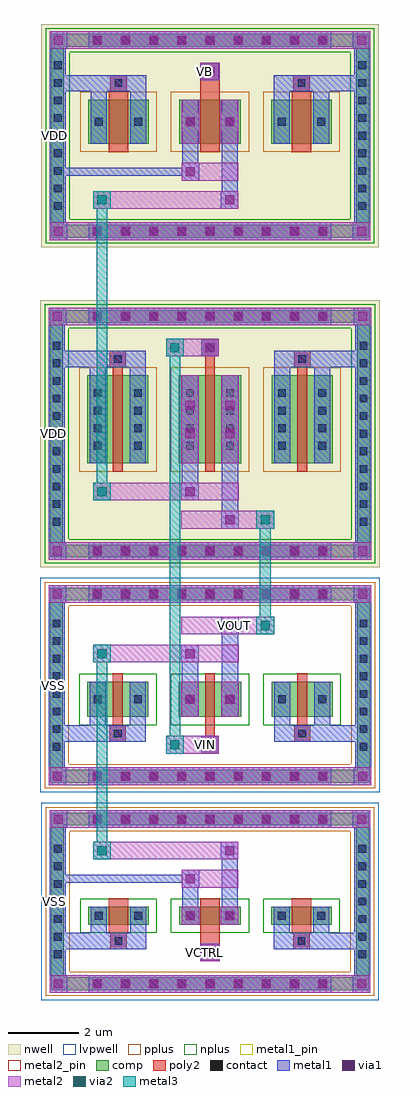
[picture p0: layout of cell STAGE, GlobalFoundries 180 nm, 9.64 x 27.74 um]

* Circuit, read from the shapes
.subckt STAGE VB VCTRL VDD VIN VOUT VSS
XM1 VSS VSS VSS VSS nfet_03v3 w=0.5u l=0.56u m=2
XM2 VSS VSS VSS VSS nfet_03v3 w=1u l=0.28u m=2
XM3 n1 VCTRL VSS VSS nfet_03v3 w=0.5u l=0.56u
XM4 VOUT VIN n1 VSS nfet_03v3 w=1u l=0.28u
XM5 VDD VDD VDD VDD pfet_03v3 w=1.25u l=0.56u m=2
XM6 VDD VDD VDD VDD pfet_03v3 w=2.5u l=0.28u m=2
XM7 n2 VB VDD VDD pfet_03v3 w=1.25u l=0.56u
XM8 VOUT VIN n2 VDD pfet_03v3 w=2.5u l=0.28u
.ends

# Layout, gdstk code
import gdstk
lib = gdstk.Library(unit=1e-6, precision=5e-09)
def R(c, l, rs):  # rectangles x0, y0, x1, y1
    for r in rs: c.add(gdstk.rectangle(r[:2], r[2:], *l))
def A(c, l, x, y, w, h, nx, ny, dx, dy):  # array of equal rectangles
    R(c, l, [(x+i*dx, y+j*dy, x+i*dx+w, y+j*dy+h) for i in range(nx) for j in range(ny)])
def P(c, l, *ps):  # polygons
    for p in ps: c.add(gdstk.Polygon(p, *l))
nwell = (21, 0)
comp = (22, 0)
poly2 = (30, 0)
pplus = (31, 0)
nplus = (32, 0)
contact = (33, 0)
metal1 = (34, 0)
metal1_pin = (34, 10)
via1 = (35, 0)
metal2 = (36, 0)
metal2_pin = (36, 10)
via2 = (38, 0)
metal3 = (42, 0)
lvpwell = (204, 0)

stage = lib.new_cell('STAGE')
R(stage, nwell, [(-4.82,9.5,4.82,17.09), (-4.66,9.66,4.66,16.93), (-4.79,18.59,4.79,24.94), (-4.63,18.75,4.63,24.78)])
A(stage, comp, -3.38, -2.52, 0.36, 0.36, 9, 2, 0.8, 4.68)
A(stage, comp, -4.51, -1.68, 0.36, 0.36, 1, 7, 0, 0.5)
A(stage, comp, 4.15, -1.68, 0.36, 0.36, 1, 7, 0, 0.5)
A(stage, comp, -3.38, 3.38, 0.36, 0.36, 9, 2, 0.8, 5.18)
A(stage, comp, -4.54, 4.22, 0.36, 0.36, 1, 8, 0, 0.5)
A(stage, comp, 4.18, 4.22, 0.36, 0.36, 1, 8, 0, 0.5)
A(stage, comp, -3.38, 9.78, 0.36, 0.36, 9, 2, 0.8, 6.67)
A(stage, comp, -4.54, 10.615, 0.36, 0.36, 1, 11, 0, 0.5)
A(stage, comp, 4.18, 10.615, 0.36, 0.36, 1, 11, 0, 0.5)
A(stage, comp, -3.38, 18.87, 0.36, 0.36, 9, 2, 0.8, 5.43)
A(stage, comp, -4.51, 19.585, 0.36, 0.36, 1, 9, 0, 0.5)
A(stage, comp, 4.15, 19.585, 0.36, 0.36, 1, 9, 0, 0.5)
R(stage, comp, [(-3.38,-2.52,3.38,-2.16), (-4.51,-1.68,-4.15,1.68), (4.15,-1.68,4.51,1.68), (-3.46,-0.655,-1.74,-0.155), (-0.88,-0.655,0.88,-0.155), (1.74,-0.655,3.46,-0.155), (-3.38,2.16,3.38,2.52), (-3.38,3.38,3.38,3.74), (-4.54,4.22,-4.18,8.08), (4.18,4.22,4.54,8.08), (-3.49,5.245,-1.75,6.245), (-0.89,5.245,0.89,6.245), (1.75,5.245,3.49,6.245), (-3.38,8.56,3.38,8.92), (-3.38,9.78,3.38,10.14), (-4.54,10.615,-4.18,15.975), (4.18,10.615,4.54,15.975), (-3.49,12.45,-1.75,14.95), (-0.89,12.45,0.89,14.95), (1.75,12.45,3.49,14.95), (-3.38,16.45,3.38,16.81), (-3.38,18.87,3.38,19.23), (-4.51,19.585,-4.15,23.945), (4.15,19.585,4.51,23.945), (-3.46,21.54,-1.74,22.79), (-0.88,21.54,0.88,22.79), (1.74,21.54,3.46,22.79), (-3.38,24.3,3.38,24.66)])
P(stage, comp, [(4.51,2.52),(-4.51,2.52),(-4.51,-2.16),(-4.15,-2.16),(-4.15,2.16),(4.15,2.16),(4.15,-2.16),(-4.15,-2.16),(-4.51,-2.16),(-4.51,-2.52),(4.51,-2.52)],
  [(4.51,18.87),(-4.51,18.87),(-4.51,24.3),(-4.15,24.3),(-4.15,19.23),(4.15,19.23),(4.15,24.3),(-4.15,24.3),(-4.51,24.3),(-4.51,24.66),(4.51,24.66)],
  [(4.54,9.78),(-4.54,9.78),(-4.54,16.45),(-4.18,16.45),(-4.18,10.14),(4.18,10.14),(4.18,16.45),(-4.18,16.45),(-4.54,16.45),(-4.54,16.81),(4.54,16.81)],
  [(4.54,8.92),(-4.54,8.92),(-4.54,3.74),(-4.18,3.74),(-4.18,8.56),(4.18,8.56),(4.18,3.74),(-4.18,3.74),(-4.54,3.74),(-4.54,3.38),(4.54,3.38)])
A(stage, poly2, -2.88, -0.895, 0.56, 0.98, 3, 1, 2.6, 0)
A(stage, poly2, -2.76, 5.005, 0.28, 1.48, 3, 1, 2.62, 0)
A(stage, poly2, -2.76, 12.21, 0.28, 2.98, 3, 1, 2.62, 0)
A(stage, poly2, -2.88, 21.3, 0.56, 1.73, 3, 1, 2.6, 0)
R(stage, poly2, [(-0.28,-1.695,0.28,-1.195), (-0.18,-1.625,0.18,-1.265), (-2.83,-1.355,-2.37,-0.895), (2.37,-1.355,2.83,-0.895), (-2.78,-1.305,-2.42,-0.945), (2.42,-1.305,2.78,-0.945), (-0.28,-1.195,0.28,-0.895), (-0.25,4.205,0.25,4.705), (-0.18,4.275,0.18,4.635), (-2.85,4.545,-2.39,5.005), (2.39,4.545,2.85,5.005), (-2.8,4.595,-2.44,4.955), (2.44,4.595,2.8,4.955), (-0.14,4.705,0.14,5.005), (-2.85,15.19,-2.39,15.65), (-0.14,15.19,0.14,15.49), (2.39,15.19,2.85,15.65), (-2.8,15.24,-2.44,15.6), (2.44,15.24,2.8,15.6), (-0.25,15.49,0.25,15.99), (-0.18,15.56,0.18,15.92), (-2.83,23.03,-2.37,23.49), (-0.28,23.03,0.28,23.335), (2.37,23.03,2.83,23.49), (-2.78,23.08,-2.42,23.44), (2.42,23.08,2.78,23.44), (-0.28,23.335,0.28,23.835), (-0.18,23.405,0.18,23.765)])
R(stage, pplus, [(-3.72,12.22,-1.52,15.18), (-1.12,12.22,1.12,15.18), (1.52,12.22,3.72,15.18), (-3.69,21.31,-1.51,23.02), (-1.11,21.31,1.11,23.02), (1.51,21.31,3.69,23.02)])
P(stage, pplus, [(4.67,2.68),(-4.67,2.68),(-4.67,-2),(-3.99,-2),(-3.99,2),(3.99,2),(3.99,-2),(-3.99,-2),(-4.67,-2),(-4.67,-2.68),(4.67,-2.68)],
  [(4.7,9.08),(-4.7,9.08),(-4.7,3.9),(-4.02,3.9),(-4.02,8.4),(4.02,8.4),(4.02,3.9),(-4.02,3.9),(-4.7,3.9),(-4.7,3.22),(4.7,3.22)])
R(stage, nplus, [(-3.69,-0.885,-1.51,0.075), (-1.11,-0.885,1.11,0.075), (1.51,-0.885,3.69,0.075), (-3.72,5.015,-1.52,6.475), (-1.12,5.015,1.12,6.475), (1.52,5.015,3.72,6.475)])
P(stage, nplus, [(4.67,18.71),(-4.67,18.71),(-4.67,24.14),(-3.99,24.14),(-3.99,19.39),(3.99,19.39),(3.99,24.14),(-3.99,24.14),(-4.67,24.14),(-4.67,24.82),(4.67,24.82)],
  [(4.7,9.62),(-4.7,9.62),(-4.7,16.29),(-4.02,16.29),(-4.02,10.3),(4.02,10.3),(4.02,16.29),(-4.02,16.29),(-4.7,16.29),(-4.7,16.97),(4.7,16.97)])
A(stage, contact, -3.31, -2.45, 0.22, 0.22, 9, 2, 0.8, 4.68)
A(stage, contact, -4.44, -1.61, 0.22, 0.22, 1, 7, 0, 0.5)
A(stage, contact, 4.22, -1.61, 0.22, 0.22, 1, 7, 0, 0.5)
A(stage, contact, -3.31, 3.45, 0.22, 0.22, 9, 2, 0.8, 5.18)
A(stage, contact, -4.47, 4.29, 0.22, 0.22, 1, 8, 0, 0.5)
A(stage, contact, 4.25, 4.29, 0.22, 0.22, 1, 8, 0, 0.5)
A(stage, contact, -3.31, 9.85, 0.22, 0.22, 9, 2, 0.8, 6.67)
A(stage, contact, -4.47, 10.685, 0.22, 0.22, 1, 11, 0, 0.5)
A(stage, contact, 4.25, 10.685, 0.22, 0.22, 1, 11, 0, 0.5)
A(stage, contact, -3.3, 12.84, 0.22, 0.22, 1, 4, 0, 0.5)
A(stage, contact, -2.16, 12.84, 0.22, 0.22, 1, 4, 0, 0.5)
A(stage, contact, -0.68, 12.84, 0.22, 0.22, 1, 4, 0, 0.5)
A(stage, contact, 0.46, 12.84, 0.22, 0.22, 1, 4, 0, 0.5)
A(stage, contact, 1.94, 12.84, 0.22, 0.22, 1, 4, 0, 0.5)
A(stage, contact, 3.08, 12.84, 0.22, 0.22, 1, 4, 0, 0.5)
A(stage, contact, -3.31, 18.94, 0.22, 0.22, 9, 2, 0.8, 5.43)
A(stage, contact, -4.44, 19.655, 0.22, 0.22, 1, 9, 0, 0.5)
A(stage, contact, 4.22, 19.655, 0.22, 0.22, 1, 9, 0, 0.5)
R(stage, contact, [(-0.11,-1.555,0.11,-1.335), (-2.71,-1.235,-2.49,-1.015), (2.49,-1.235,2.71,-1.015), (-3.27,-0.515,-3.05,-0.295), (-2.15,-0.515,-1.93,-0.295), (-0.67,-0.515,-0.45,-0.295), (0.45,-0.515,0.67,-0.295), (1.93,-0.515,2.15,-0.295), (3.05,-0.515,3.27,-0.295), (-0.11,4.345,0.11,4.565), (-2.73,4.665,-2.51,4.885), (2.51,4.665,2.73,4.885), (-3.3,5.635,-3.08,5.855), (-2.16,5.635,-1.94,5.855), (-0.68,5.635,-0.46,5.855), (0.46,5.635,0.68,5.855), (1.94,5.635,2.16,5.855), (3.08,5.635,3.3,5.855), (-2.73,15.31,-2.51,15.53), (2.51,15.31,2.73,15.53), (-0.11,15.63,0.11,15.85), (-3.27,22.055,-3.05,22.275), (-2.15,22.055,-1.93,22.275), (-0.67,22.055,-0.45,22.275), (0.45,22.055,0.67,22.275), (1.93,22.055,2.15,22.275), (3.05,22.055,3.27,22.275), (-2.71,23.15,-2.49,23.37), (2.49,23.15,2.71,23.37), (-0.11,23.475,0.11,23.695)])
A(stage, metal1, -3.45, -2.59, 0.5, 0.5, 9, 2, 0.8, 4.68)
A(stage, metal1, -4.56, -1.73, 0.46, 0.46, 1, 7, 0, 0.5)
A(stage, metal1, 4.1, -1.73, 0.46, 0.46, 1, 7, 0, 0.5)
A(stage, metal1, -3.45, 3.31, 0.5, 0.5, 9, 2, 0.8, 5.18)
A(stage, metal1, -4.59, 4.17, 0.46, 0.46, 1, 8, 0, 0.5)
A(stage, metal1, 4.13, 4.17, 0.46, 0.46, 1, 8, 0, 0.5)
A(stage, metal1, -3.45, 9.71, 0.5, 0.5, 9, 2, 0.8, 6.67)
A(stage, metal1, -4.59, 10.565, 0.46, 0.46, 1, 11, 0, 0.5)
A(stage, metal1, 4.13, 10.565, 0.46, 0.46, 1, 11, 0, 0.5)
A(stage, metal1, -3.42, 12.72, 0.46, 0.46, 1, 4, 0, 0.5)
A(stage, metal1, -2.28, 12.72, 0.46, 0.46, 1, 4, 0, 0.5)
A(stage, metal1, -0.8, 12.72, 0.46, 0.46, 1, 4, 0, 0.5)
A(stage, metal1, 0.34, 12.72, 0.46, 0.46, 1, 4, 0, 0.5)
A(stage, metal1, 1.82, 12.72, 0.46, 0.46, 1, 4, 0, 0.5)
A(stage, metal1, 2.96, 12.72, 0.46, 0.46, 1, 4, 0, 0.5)
A(stage, metal1, -3.45, 18.8, 0.5, 0.5, 9, 2, 0.8, 5.43)
A(stage, metal1, -4.56, 19.535, 0.46, 0.46, 1, 9, 0, 0.5)
A(stage, metal1, 4.1, 19.535, 0.46, 0.46, 1, 9, 0, 0.5)
R(stage, metal1, [(-4.56,-2.59,-4.06,-2.09), (-4.56,-2.59,-4.06,-2.09), (-4.56,-2.59,-4.1,-2.16), (-3.45,-2.59,3.45,-2.09), (4.06,-2.59,4.56,-2.09), (4.06,-2.59,4.56,-2.09), (4.1,-2.59,4.56,-2.16), (-4.56,-2.16,-4.1,2.16), (4.1,-2.16,4.56,2.16), (-0.25,-1.695,0.25,-1.195), (-4.56,-1.355,-2.83,-0.895), (-3.39,-1.355,-2.83,-0.895), (-3.39,-1.355,-2.93,-0.655), (-2.83,-1.355,-2.37,-0.895), (-2.37,-1.355,-1.81,-0.895), (-2.27,-1.355,-1.81,-0.655), (1.81,-1.355,2.37,-0.895), (1.81,-1.355,2.27,-0.655), (2.37,-1.355,2.83,-0.895), (2.37,-1.355,4.56,-0.895), (2.83,-1.355,3.39,-0.895), (2.93,-1.355,3.39,-0.655), (-3.39,-0.655,-2.93,-0.155), (-2.27,-0.655,-1.81,-0.155), (-0.81,-0.655,-0.31,-0.155), (-0.81,-0.655,-0.31,-0.155), (-0.79,-0.655,-0.33,-0.155), (0.31,-0.655,0.81,-0.155), (0.31,-0.655,0.81,-0.155), (0.33,-0.655,0.79,-0.155), (1.81,-0.655,2.27,-0.155), (2.93,-0.655,3.39,-0.155), (-3.39,-0.635,-2.93,-0.175), (-2.27,-0.635,-1.81,-0.175), (-0.79,-0.635,-0.33,-0.175), (0.33,-0.635,0.79,-0.175), (1.81,-0.635,2.27,-0.175), (2.93,-0.635,3.39,-0.175), (-0.79,-0.155,-0.33,0.895), (0.33,-0.155,0.79,1.695), (-0.81,0.395,-0.31,0.895), (-0.81,0.395,-0.31,0.895), (-0.81,0.395,-0.31,0.895), (-4.56,0.53,-0.81,0.76), (0.31,1.195,0.81,1.695), (-4.56,2.09,-4.06,2.59), (-4.56,2.09,-4.06,2.59), (-3.45,2.09,3.45,2.59), (4.06,2.09,4.56,2.59), (4.06,2.09,4.56,2.59), (-4.56,2.16,-4.1,2.59), (4.1,2.16,4.56,2.59), (-4.59,3.31,-4.09,3.81), (-4.59,3.31,-4.09,3.81), (-4.59,3.31,-4.13,3.74), (-3.45,3.31,3.45,3.81), (4.09,3.31,4.59,3.81), (4.09,3.31,4.59,3.81), (4.13,3.31,4.59,3.74), (-4.59,3.74,-4.13,8.56), (4.13,3.74,4.59,8.56), (-0.25,4.205,0.25,4.705), (-4.59,4.545,-2.85,5.005), (-3.42,4.545,-2.96,5.245), (-3.42,4.545,-2.85,5.005), (-2.85,4.545,-2.39,5.005), (-2.39,4.545,-1.82,5.005), (-2.28,4.545,-1.82,5.245), (1.82,4.545,2.28,5.245), (1.82,4.545,2.39,5.005), (2.39,4.545,2.85,5.005), (2.39,4.545,4.59,5.005), (2.85,4.545,3.42,5.005), (2.96,4.545,3.42,5.245), (-3.42,5.245,-2.96,6.245), (-2.28,5.245,-1.82,6.245), (-0.8,5.245,-0.34,6.245), (0.34,5.245,0.8,6.245), (1.82,5.245,2.28,6.245), (2.96,5.245,3.42,6.245), (-0.82,5.495,-0.32,5.995), (-0.82,5.495,-0.32,5.995), (0.32,5.495,0.82,5.995), (0.32,5.495,0.82,5.995), (-3.42,5.515,-2.96,5.975), (-2.28,5.515,-1.82,5.975), (-0.8,5.515,-0.34,5.975), (0.34,5.515,0.8,5.975), (1.82,5.515,2.28,5.975), (2.96,5.515,3.42,5.975), (-0.8,6.245,-0.34,7.295), (0.34,6.245,0.8,8.095), (-0.82,6.795,-0.32,7.295), (0.32,7.595,0.82,8.095), (-4.59,8.49,-4.09,8.99), (-4.59,8.49,-4.09,8.99), (-3.45,8.49,3.45,8.99), (4.09,8.49,4.59,8.99), (4.09,8.49,4.59,8.99), (-4.59,8.56,-4.13,8.99), (4.13,8.56,4.59,8.99), (-4.59,9.71,-4.09,10.21), (-4.59,9.71,-4.09,10.21), (-4.59,9.71,-4.13,10.14), (-3.45,9.71,3.45,10.21), (4.09,9.71,4.59,10.21), (4.09,9.71,4.59,10.21), (4.13,9.71,4.59,10.14), (-4.59,10.14,-4.13,16.45), (4.13,10.14,4.59,16.45), (0.32,10.6,0.82,11.1), (0.34,10.6,0.8,12.45), (-0.82,11.4,-0.32,11.9), (-0.8,11.4,-0.34,12.45), (-3.42,12.45,-2.96,14.95), (-2.28,12.45,-1.82,14.95), (-0.8,12.45,-0.34,14.95), (0.34,12.45,0.8,14.95), (1.82,12.45,2.28,14.95), (2.96,12.45,3.42,14.95), (-0.82,13.05,-0.32,13.55), (-0.82,13.05,-0.32,14.35), (0.32,13.05,0.82,13.55), (0.32,13.05,0.82,14.35), (-0.82,13.85,-0.32,14.35), (0.32,13.85,0.82,14.35), (-3.42,14.95,-2.96,15.65), (-2.28,14.95,-1.82,15.65), (1.82,14.95,2.28,15.65), (2.96,14.95,3.42,15.65), (-4.59,15.19,-2.85,15.65), (-3.42,15.19,-2.85,15.65), (-2.85,15.19,-2.39,15.65), (-2.39,15.19,-1.82,15.65), (1.82,15.19,2.39,15.65), (2.39,15.19,2.85,15.65), (2.39,15.19,4.59,15.65), (2.85,15.19,3.42,15.65), (-0.25,15.49,0.25,15.99), (-4.59,16.38,-4.09,16.88), (-4.59,16.38,-4.09,16.88), (-3.45,16.38,3.45,16.88), (4.09,16.38,4.59,16.88), (4.09,16.38,4.59,16.88), (-4.59,16.45,-4.13,16.88), (4.13,16.45,4.59,16.88), (-4.56,18.8,-4.06,19.3), (-4.56,18.8,-4.06,19.3), (-4.56,18.8,-4.1,19.23), (-3.45,18.8,3.45,19.3), (4.06,18.8,4.56,19.3), (4.06,18.8,4.56,19.3), (4.1,18.8,4.56,19.23), (-4.56,19.23,-4.1,24.3), (4.1,19.23,4.56,24.3), (0.31,19.69,0.81,20.19), (0.33,19.69,0.79,21.54), (-0.81,20.49,-0.31,20.99), (-0.81,20.49,-0.31,20.99), (-0.81,20.49,-0.31,20.99), (-0.79,20.49,-0.33,21.54), (-4.56,20.625,-0.81,20.855), (-3.39,21.54,-2.93,22.79), (-2.27,21.54,-1.81,22.79), (-0.79,21.54,-0.33,22.79), (0.33,21.54,0.79,22.79), (1.81,21.54,2.27,22.79), (2.93,21.54,3.39,22.79), (-0.81,21.915,-0.31,22.415), (-0.81,21.915,-0.31,22.415), (0.31,21.915,0.81,22.415), (0.31,21.915,0.81,22.415), (-3.39,21.935,-2.93,22.395), (-2.27,21.935,-1.81,22.395), (-0.79,21.935,-0.33,22.395), (0.33,21.935,0.79,22.395), (1.81,21.935,2.27,22.395), (2.93,21.935,3.39,22.395), (-3.39,22.79,-2.93,23.49), (-2.27,22.79,-1.81,23.49), (1.81,22.79,2.27,23.49), (2.93,22.79,3.39,23.49), (-4.56,23.03,-2.83,23.49), (-3.39,23.03,-2.83,23.49), (-2.83,23.03,-2.37,23.49), (-2.37,23.03,-1.81,23.49), (1.81,23.03,2.37,23.49), (2.37,23.03,2.83,23.49), (2.37,23.03,4.56,23.49), (2.83,23.03,3.39,23.49), (-0.25,23.335,0.25,23.835), (-4.56,24.23,-4.06,24.73), (-4.56,24.23,-4.06,24.73), (-3.45,24.23,3.45,24.73), (4.06,24.23,4.56,24.73), (4.06,24.23,4.56,24.73), (-4.56,24.3,-4.1,24.73), (4.1,24.3,4.56,24.73)])
R(stage, metal1_pin, [(-4.56,-0.135,-4.29,0.135), (-4.59,6.015,-4.32,6.285), (-4.59,13.16,-4.32,13.43), (-4.56,21.63,-4.29,21.9)])
A(stage, via1, -3.33, -2.47, 0.26, 0.26, 9, 2, 0.8, 4.68)
A(stage, via1, -3.33, 3.43, 0.26, 0.26, 9, 2, 0.8, 5.18)
A(stage, via1, -3.33, 9.83, 0.26, 0.26, 9, 2, 0.8, 6.67)
A(stage, via1, -3.33, 18.92, 0.26, 0.26, 9, 2, 0.8, 5.43)
R(stage, via1, [(-4.44,-2.47,-4.18,-2.21), (4.18,-2.47,4.44,-2.21), (-0.13,-1.575,0.13,-1.315), (-0.69,-0.535,-0.43,-0.275), (0.43,-0.535,0.69,-0.275), (-0.69,0.515,-0.43,0.775), (-0.69,0.515,-0.43,0.775), (0.43,1.315,0.69,1.575), (-4.44,2.21,-4.18,2.47), (4.18,2.21,4.44,2.47), (-4.47,3.43,-4.21,3.69), (4.21,3.43,4.47,3.69), (-0.13,4.325,0.13,4.585), (-0.7,5.615,-0.44,5.875), (0.44,5.615,0.7,5.875), (-0.7,6.915,-0.44,7.175), (0.44,7.715,0.7,7.975), (-4.47,8.61,-4.21,8.87), (4.21,8.61,4.47,8.87), (-4.47,9.83,-4.21,10.09), (4.21,9.83,4.47,10.09), (0.44,10.72,0.7,10.98), (-0.7,11.52,-0.44,11.78), (-0.7,13.17,-0.44,13.43), (0.44,13.17,0.7,13.43), (-0.7,13.97,-0.44,14.23), (0.44,13.97,0.7,14.23), (-0.13,15.61,0.13,15.87), (-4.47,16.5,-4.21,16.76), (4.21,16.5,4.47,16.76), (-4.44,18.92,-4.18,19.18), (4.18,18.92,4.44,19.18), (0.43,19.81,0.69,20.07), (-0.69,20.61,-0.43,20.87), (-0.69,20.61,-0.43,20.87), (-0.69,22.035,-0.43,22.295), (0.43,22.035,0.69,22.295), (-0.13,23.455,0.13,23.715), (-4.44,24.35,-4.18,24.61), (4.18,24.35,4.44,24.61)])
A(stage, metal2, -3.45, -2.59, 0.5, 0.5, 9, 2, 0.8, 4.68)
A(stage, metal2, -3.45, 3.31, 0.5, 0.5, 9, 2, 0.8, 5.18)
A(stage, metal2, -3.45, 9.71, 0.5, 0.5, 9, 2, 0.8, 6.67)
A(stage, metal2, -3.45, 18.8, 0.5, 0.5, 9, 2, 0.8, 5.43)
R(stage, metal2, [(-4.56,-2.59,-4.06,-2.09), (-4.56,-2.59,-4.06,-2.09), (-4.56,-2.59,-4.15,-2.09), (-4.15,-2.59,4.15,-2.09), (4.06,-2.59,4.56,-2.09), (4.06,-2.59,4.56,-2.09), (4.15,-2.59,4.56,-2.09), (-0.28,-1.695,0.28,-1.195), (-0.25,-1.695,0.25,-1.195), (-0.81,-0.655,-0.31,-0.155), (-0.81,-0.655,-0.31,-0.155), (0.31,-0.655,0.81,-0.155), (0.31,-0.655,0.81,-0.155), (-0.81,0.395,-0.31,0.895), (-0.81,0.395,-0.31,0.895), (-0.81,0.395,0.81,0.895), (-3.32,1.195,-2.82,1.695), (-3.32,1.195,-0.81,1.695), (-0.81,1.195,0.81,1.695), (0.31,1.195,0.81,1.695), (-4.56,2.09,-4.06,2.59), (-4.56,2.09,-4.06,2.59), (-4.56,2.09,-4.15,2.59), (-4.15,2.09,4.15,2.59), (4.06,2.09,4.56,2.59), (4.06,2.09,4.56,2.59), (4.15,2.09,4.56,2.59), (-4.59,3.31,-4.09,3.81), (-4.59,3.31,-4.09,3.81), (-4.59,3.31,-4.18,3.81), (-4.18,3.31,4.18,3.81), (4.09,3.31,4.59,3.81), (4.09,3.31,4.59,3.81), (4.18,3.31,4.59,3.81), (-1.25,4.205,-0.75,4.705), (-1.25,4.205,-0.25,4.705), (-0.25,4.205,0.25,4.705), (-0.25,4.205,0.25,4.705), (-0.82,5.245,-0.32,6.245), (0.32,5.245,0.82,6.245), (-0.82,5.495,-0.32,5.995), (0.32,5.495,0.82,5.995), (-3.32,6.795,-2.82,7.295), (-3.32,6.795,-0.82,7.295), (-0.82,6.795,-0.32,7.295), (-0.82,6.795,0.82,7.295), (-0.82,7.595,0.82,8.095), (0.32,7.595,0.82,8.095), (0.82,7.595,1.82,8.095), (1.32,7.595,1.82,8.095), (-4.59,8.49,-4.09,8.99), (-4.59,8.49,-4.09,8.99), (-4.59,8.49,-4.18,8.99), (-4.18,8.49,4.18,8.99), (4.09,8.49,4.59,8.99), (4.09,8.49,4.59,8.99), (4.18,8.49,4.59,8.99), (-4.59,9.71,-4.09,10.21), (-4.59,9.71,-4.09,10.21), (-4.59,9.71,-4.18,10.21), (-4.18,9.71,4.18,10.21), (4.09,9.71,4.59,10.21), (4.09,9.71,4.59,10.21), (4.18,9.71,4.59,10.21), (-0.82,10.6,0.82,11.1), (0.32,10.6,0.82,11.1), (0.82,10.6,1.82,11.1), (1.32,10.6,1.82,11.1), (-3.32,11.4,-2.82,11.9), (-3.32,11.4,-0.82,11.9), (-0.82,11.4,-0.32,11.9), (-0.82,11.4,0.82,11.9), (-0.82,12.45,-0.32,14.95), (0.32,12.45,0.82,14.95), (-0.82,13.05,-0.32,13.55), (0.32,13.05,0.82,13.55), (-0.82,13.85,-0.32,14.35), (0.32,13.85,0.82,14.35), (-1.25,15.49,-0.75,15.99), (-1.25,15.49,-0.25,15.99), (-0.25,15.49,0.25,15.99), (-0.25,15.49,0.25,15.99), (-4.59,16.38,-4.09,16.88), (-4.59,16.38,-4.09,16.88), (-4.59,16.38,-4.18,16.88), (-4.18,16.38,4.18,16.88), (4.09,16.38,4.59,16.88), (4.09,16.38,4.59,16.88), (4.18,16.38,4.59,16.88), (-4.56,18.8,-4.06,19.3), (-4.56,18.8,-4.06,19.3), (-4.56,18.8,-4.15,19.3), (-4.15,18.8,4.15,19.3), (4.06,18.8,4.56,19.3), (4.06,18.8,4.56,19.3), (4.15,18.8,4.56,19.3), (-3.32,19.69,-2.82,20.19), (-3.32,19.69,-0.81,20.19), (-0.81,19.69,0.81,20.19), (0.31,19.69,0.81,20.19), (-0.81,20.49,-0.31,20.99), (-0.81,20.49,-0.31,20.99), (-0.81,20.49,0.81,20.99), (-0.81,21.54,-0.31,22.79), (0.31,21.54,0.81,22.79), (-0.81,21.915,-0.31,22.415), (0.31,21.915,0.81,22.415), (-0.28,23.335,0.28,23.835), (-0.25,23.335,0.25,23.835), (-4.56,24.23,-4.06,24.73), (-4.56,24.23,-4.06,24.73), (-4.56,24.23,-4.15,24.73), (-4.15,24.23,4.15,24.73), (4.06,24.23,4.56,24.73), (4.06,24.23,4.56,24.73), (4.15,24.23,4.56,24.73)])
R(stage, metal2_pin, [(-0.28,-1.58,-0.01,-1.31), (-0.25,4.32,0.02,4.59), (0.55,7.71,0.82,7.98), (-0.28,23.45,-0.01,23.72)])
R(stage, via2, [(-3.2,1.315,-2.94,1.575), (-1.13,4.325,-0.87,4.585), (-3.2,6.915,-2.94,7.175), (1.44,7.715,1.7,7.975), (1.44,10.72,1.7,10.98), (-3.2,11.52,-2.94,11.78), (-1.13,15.61,-0.87,15.87), (-3.2,19.81,-2.94,20.07)])
R(stage, metal3, [(-3.32,1.195,-2.82,1.695), (-3.32,1.195,-2.82,1.695), (-3.22,1.195,-2.92,7.295), (-2.92,1.195,-2.82,1.695), (-1.25,4.205,-0.75,4.705), (-1.25,4.205,-0.75,4.705), (-1.15,4.205,-0.85,15.99), (-0.85,4.205,-0.75,4.705), (-3.32,6.795,-2.82,7.295), (-3.32,6.795,-2.82,7.295), (-2.92,6.795,-2.82,7.295), (1.32,7.595,1.82,8.095), (1.32,7.595,1.82,8.095), (1.42,7.595,1.72,11.1), (1.72,7.595,1.82,8.095), (1.32,10.6,1.82,11.1), (1.32,10.6,1.82,11.1), (1.72,10.6,1.82,11.1), (-3.32,11.4,-2.82,11.9), (-3.32,11.4,-2.82,11.9), (-3.22,11.4,-2.92,20.19), (-2.92,11.4,-2.82,11.9), (-1.25,15.49,-0.75,15.99), (-1.25,15.49,-0.75,15.99), (-0.85,15.49,-0.75,15.99), (-3.32,19.69,-2.82,20.19), (-3.32,19.69,-2.82,20.19), (-2.92,19.69,-2.82,20.19)])
R(stage, lvpwell, [(-4.79,-2.8,4.79,2.8), (-4.82,3.1,4.82,9.2)])
stage.add(gdstk.Label('VIN', (-0.115,4.455), layer=36, texttype=10))
stage.add(gdstk.Label('VOUT', (0.685,7.845), layer=36, texttype=10))
stage.add(gdstk.Label('VCTRL', (-0.145,-1.445), layer=36, texttype=10))
stage.add(gdstk.Label('VB', (-0.145,23.585), layer=36, texttype=10))
stage.add(gdstk.Label('VSS', (-4.425,0), layer=34, texttype=10))
stage.add(gdstk.Label('VSS', (-4.455,6.15), layer=34, texttype=10))
stage.add(gdstk.Label('VDD', (-4.425,21.765), layer=34, texttype=10))
stage.add(gdstk.Label('VDD', (-4.455,13.295), layer=34, texttype=10))

lib.write_gds('STAGE.gds')
